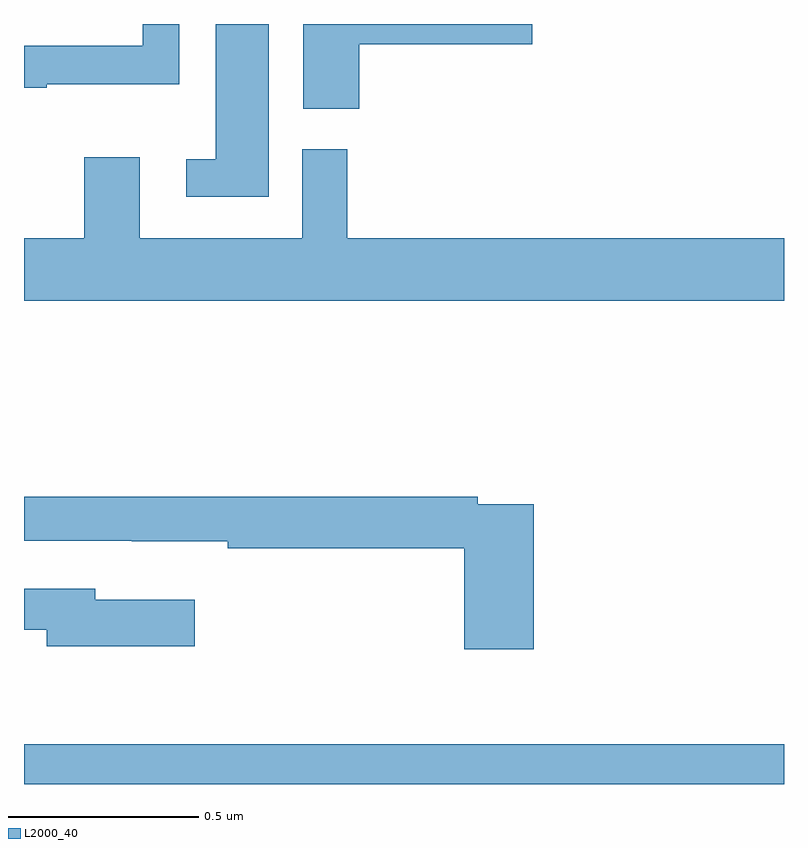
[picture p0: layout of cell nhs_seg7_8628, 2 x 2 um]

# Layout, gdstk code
import gdstk
lib = gdstk.Library(unit=1e-6, precision=1e-09)
def R(c, l, rs):  # rectangles x0, y0, x1, y1
    for r in rs: c.add(gdstk.rectangle(r[:2], r[2:], *l))
def P(c, l, *ps):  # polygons
    for p in ps: c.add(gdstk.Polygon(p, *l))
L2000_40 = (2000, 40)

nhs_seg7_8628 = lib.new_cell('nhs_seg7_8628')
R(nhs_seg7_8628, L2000_40, [(227,1010,229,1010.104)])
P(nhs_seg7_8628, L2000_40, [(227.882,1011.947),(228.337,1011.947),(228.337,1012),(227.735,1012),(227.735,1011.777),(227.882,1011.777)],
  [(227.644,1012),(227.504,1012),(227.504,1011.644),(227.427,1011.644),(227.427,1011.546),(227.644,1011.546)],
  [(227.06,1011.842),(227.409,1011.842),(227.409,1012),(227.313,1012),(227.313,1011.943),(227,1011.943),(227,1011.832),(227.06,1011.832)],
  [(229,1011.436),(227.851,1011.436),(227.851,1011.67),(227.732,1011.67),(227.732,1011.436),(227.305,1011.436),(227.305,1011.649),(227.158,1011.649),(227.158,1011.436),(227,1011.436),(227,1011.272),(229,1011.272)],
  [(228.341,1010.736),(228.194,1010.736),(228.194,1010.756),(227,1010.756),(227,1010.64),(227.284,1010.64),(227.284,1010.639),(227.536,1010.639),(227.536,1010.62),(228.158,1010.62),(228.158,1010.355),(228.341,1010.355)],
  [(227.449,1010.485),(227.188,1010.485),(227.188,1010.514),(227,1010.514),(227,1010.406),(227.06,1010.406),(227.06,1010.363),(227.449,1010.363)])

lib.write_gds('nhs_seg7_8628.gds')
